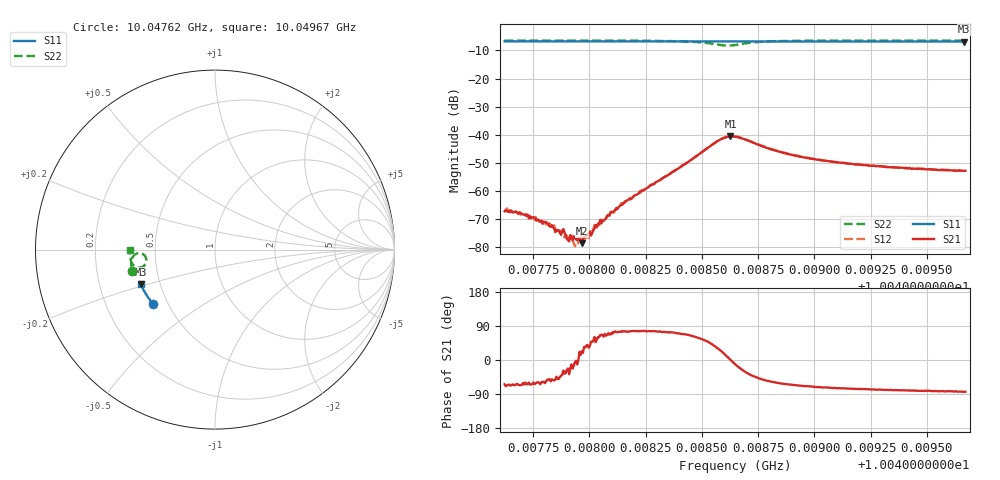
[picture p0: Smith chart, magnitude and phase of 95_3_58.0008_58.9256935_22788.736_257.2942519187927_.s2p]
#  HZ  S  RI  R  50.00
! Rohde & Schwarz Vector Network Analyzer
! Rohde-Schwarz,ZNB20-2Port,1311601062101988,3.16
! Created: UTC 3/21/2024, 12:54:28 AM
! freq[Hz]  re:S11  im:S11  re:S21  im:S21  re:S12  im:S12  re:S22  im:S22
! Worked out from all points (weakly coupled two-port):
!   401 points, 10.04762 GHz to 10.04967 GHz, reference 50 ohm
!   highest |S21| = -40.54 dB at 10.04863 GHz (marker M1); lowest = -78.6 dB at 10.04797 GHz (marker M2)
!   lowest |S11| = -6.8 dB at 10.04967 GHz (marker M3), VSWR 2.68, Z = 19.4 - j9.39 ohm
!   |S11| at or under -10 dB: nowhere
!   |S22| runs from -8.3 to -6.4 dB; largest |S21 - S12| = 0.00066
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1.0047623e10  -0.3436 -0.3056  0.000191 -0.000392  0.00022 -0.000407  -0.4618 -0.1192
1.00477e10  -0.3468 -0.3018  0.000161 -0.000355  0.000206 -0.000335  -0.4628 -0.1135
1.0047833e10  -0.3524 -0.2948  0.000156 -0.000193  0.000153 -0.000186  -0.4644 -0.1034
1.0047859e10  -0.3535 -0.2934  0.000127 -0.000152  0.000135 -0.000144  -0.4649 -0.1012
1.0047885e10  -0.3545 -0.2922  0.000187 -9.83e-05  0.000115 -0.000119  -0.4651 -0.0993
1.004791e10  -0.3557 -0.2907  0.000101 -7.77e-05  0.000135 -3.42e-05  -0.4652 -0.0973
1.0047941e10  -0.3567 -0.2891  0.000139 -4.8e-06  0.000112 1.86e-05  -0.4656 -0.0947
1.0047956e10  -0.3574 -0.2883  0.000135 5.34e-05  0.000131 4.97e-05  -0.4658 -0.0935
1.0047966e10  -0.3579 -0.2879  0.000108 4.66e-05  0.000171 5.51e-05  -0.4659 -0.0926
1.0047987e10  -0.3588 -0.2866  0.00013 0.000102  0.000125 0.000113  -0.4662 -0.0909
1.0048013e10  -0.3597 -0.2854  0.000119 0.000132  0.000134 0.000146  -0.4662 -0.0886
1.0048033e10  -0.3604 -0.2842  0.000132 0.000183  0.00012 0.00022  -0.4664 -0.0867
1.0048135e10  -0.3646 -0.2788  0.000146 0.00052  0.000117 0.000533  -0.4668 -0.0771
1.0048309e10  -0.3711 -0.2692  0.0004 0.00149  0.000327 0.00151  -0.4646 -0.0569
1.0048565e10  -0.3799 -0.2546  0.00631 0.00414  0.00606 0.00449  -0.4053 -0.0235
1.0048627e10  -0.3816 -0.2517  0.00939 4.18e-05  0.00939 0.000683  -0.3819 -0.0632
1.0048647e10  -0.3823 -0.2506  0.00913 -0.00177  0.00927 -0.00114  -0.387 -0.0794
1.0048827e10  -0.389 -0.2409  0.00269 -0.00451  0.00301 -0.00439  -0.4546 -0.0853
1.004899e10  -0.3945 -0.2313  0.00127 -0.00352  0.00148 -0.00347  -0.4679 -0.0627
1.0049333e10  -0.4052 -0.2112  0.000493 -0.00262  0.00068 -0.0026  -0.4741 -0.0303
1.0049666e10  -0.4143 -0.1912  0.000233 -0.00226  0.000373 -0.00226  -0.4756 -0.00491
1.0049671e10  -0.4145 -0.1911  0.000248 -0.00228  0.00038 -0.00227  -0.4756 -0.00442
